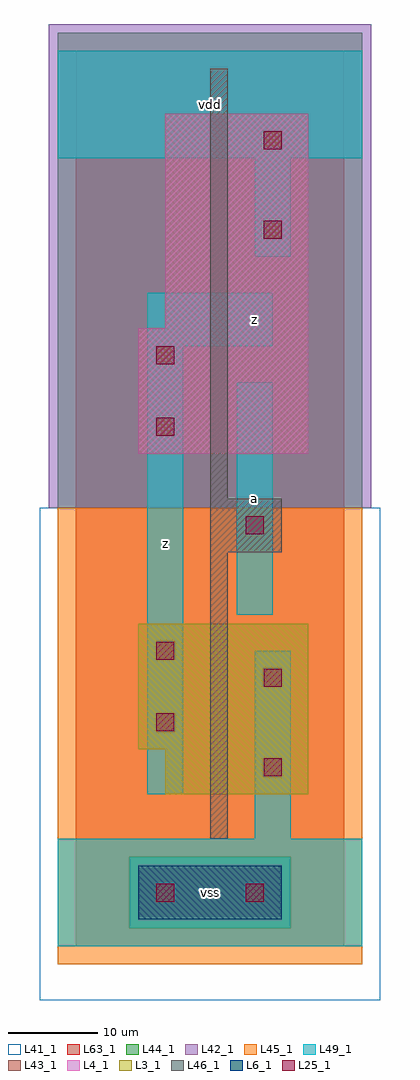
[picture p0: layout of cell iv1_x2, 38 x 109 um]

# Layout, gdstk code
import gdstk
lib = gdstk.Library(unit=1e-6, precision=1e-09)
def R(c, l, rs):  # rectangles x0, y0, x1, y1
    for r in rs: c.add(gdstk.rectangle(r[:2], r[2:], *l))
L3_1 = (3, 1)
L4_1 = (4, 1)
L6_1 = (6, 1)
L25_1 = (25, 1)
L41_1 = (41, 1)
L42_1 = (42, 1)
L43_1 = (43, 1)
L44_1 = (44, 1)
L45_1 = (45, 1)
L46_1 = (46, 1)
L49_1 = (49, 1)
L63_1 = (63, 1)

iv1_x2 = lib.new_cell('iv1_x2')
R(iv1_x2, L3_1, [(10,17,26,22), (7,22,26,36)])
R(iv1_x2, L4_1, [(7,55,26,69), (10,69,26,93)])
R(iv1_x2, L6_1, [(7,3,23,9)])
R(iv1_x2, L25_1, [(9,5,11,7), (19,5,21,7), (21,19,23,21), (9,24,11,26), (21,29,23,31), (9,32,11,34), (19,46,21,48), (9,57,11,59), (9,65,11,67), (21,79,23,81), (21,89,23,91)])
R(iv1_x2, L41_1, [(-4,-6,34,49), (-3,-3,33,49)])
R(iv1_x2, L42_1, [(-3,49,33,103)])
R(iv1_x2, L43_1, [(7,3,23,9), (10,17,26,22), (7,22,26,36), (7,55,26,69), (10,69,26,93)])
R(iv1_x2, L44_1, [(6,2,24,10), (-2,49,32,102)])
R(iv1_x2, L45_1, [(-2,-2,32,2), (-2,2,6,10), (24,2,32,10), (-2,10,32,49)])
R(iv1_x2, L46_1, [(15,12,17,44), (15,44,23,50), (15,50,17,98)])
R(iv1_x2, L49_1, [(-2,0,32,12), (20,12,24,33), (8,17,12,67), (18,37,22,63), (8,67,22,73), (20,77,24,88), (-2,88,32,100)])
R(iv1_x2, L63_1, [(0,0,30,100)])
iv1_x2.add(gdstk.Label('z', (10,45), layer=49, texttype=1))
iv1_x2.add(gdstk.Label('z', (10,45), layer=49, texttype=1))
iv1_x2.add(gdstk.Label('vss', (15,6), layer=49, texttype=1))
iv1_x2.add(gdstk.Label('vss', (15,6), layer=49, texttype=1))
iv1_x2.add(gdstk.Label('a', (20,50), layer=49, texttype=1))
iv1_x2.add(gdstk.Label('a', (20,50), layer=49, texttype=1))
iv1_x2.add(gdstk.Label('z', (20,70), layer=49, texttype=1))
iv1_x2.add(gdstk.Label('z', (20,70), layer=49, texttype=1))
iv1_x2.add(gdstk.Label('vdd', (15,94), layer=49, texttype=1))
iv1_x2.add(gdstk.Label('vdd', (15,94), layer=49, texttype=1))

lib.write_gds('iv1_x2.gds')
